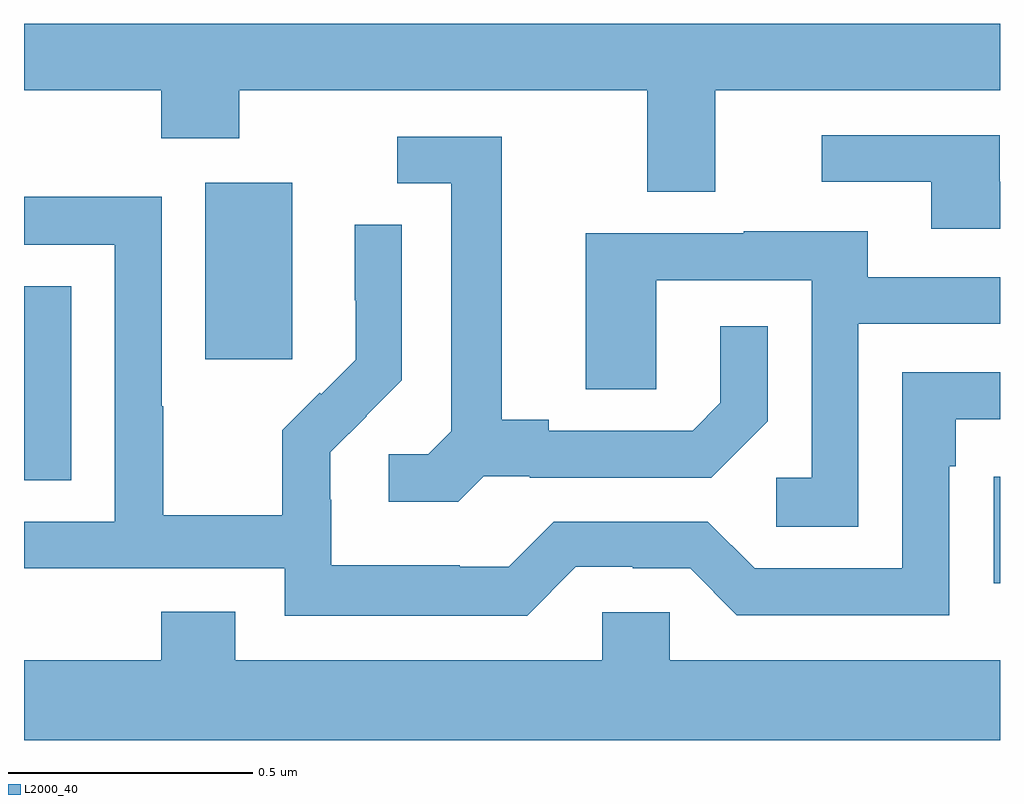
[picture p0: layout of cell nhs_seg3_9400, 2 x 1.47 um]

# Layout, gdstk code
import gdstk
lib = gdstk.Library(unit=1e-6, precision=1e-09)
def R(c, l, rs):  # rectangles x0, y0, x1, y1
    for r in rs: c.add(gdstk.rectangle(r[:2], r[2:], *l))
def P(c, l, *ps):  # polygons
    for p in ps: c.add(gdstk.Polygon(p, *l))
L2000_40 = (2000, 40)

nhs_seg3_9400 = lib.new_cell('nhs_seg3_9400')
R(nhs_seg3_9400, L2000_40, [(229.987,685.254,230,685.472), (228,685.465,228.097,685.862), (228.371,685.713,228.55,686.074)])
P(nhs_seg3_9400, L2000_40, [(229.417,686.264),(230,686.264),(230,686.4),(228,686.4),(228,686.264),(228.281,686.264),(228.281,686.165),(228.441,686.165),(228.441,686.264),(229.277,686.264),(229.277,686.056),(229.417,686.056)],
  [(230,686.076),(229.999,686.076),(229.999,686.172),(229.635,686.172),(229.635,686.076),(229.859,686.076),(229.859,685.98),(230,685.98)],
  [(228.942,685.473),(229.036,685.473),(229.036,685.47),(229.408,685.47),(229.524,685.586),(229.524,685.78),(229.427,685.78),(229.427,685.623),(229.37,685.566),(229.075,685.566),(229.075,685.589),(228.979,685.589),(228.979,686.169),(228.765,686.169),(228.765,686.073),(228.875,686.073),(228.875,685.565),(228.828,685.518),(228.747,685.518),(228.747,685.421),(228.89,685.421)],
  [(229.131,685.287),(229.247,685.287),(229.247,685.284),(229.365,685.284),(229.461,685.188),(229.896,685.188),(229.896,685.493),(229.909,685.493),(229.909,685.59),(230,685.59),(230,685.686),(229.8,685.686),(229.8,685.284),(229.497,685.284),(229.401,685.38),(229.086,685.38),(228.993,685.287),(228.893,685.287),(228.893,685.291),(228.63,685.291),(228.63,685.425),(228.628,685.425),(228.628,685.522),(228.702,685.596),(228.701,685.597),(228.774,685.67),(228.774,685.988),(228.678,685.988),(228.678,685.834),(228.68,685.834),(228.68,685.712),(228.609,685.641),(228.606,685.644),(228.529,685.567),(228.529,685.393),(228.285,685.393),(228.285,685.616),(228.282,685.616),(228.282,686.046),(228,686.046),(228,685.947),(228.186,685.947),(228.186,685.38),(228,685.38),(228,685.284),(228.534,685.284),(228.534,685.187),(229.031,685.187)],
  [(229.71,685.785),(230,685.785),(230,685.881),(229.729,685.881),(229.729,685.975),(229.475,685.975),(229.475,685.971),(229.151,685.971),(229.151,685.651),(229.296,685.651),(229.296,685.875),(229.614,685.875),(229.614,685.47),(229.542,685.47),(229.542,685.369),(229.71,685.369)],
  [(230,685.096),(229.323,685.096),(229.323,685.194),(229.185,685.194),(229.185,685.096),(228.433,685.096),(228.433,685.195),(228.281,685.195),(228.281,685.096),(228,685.096),(228,684.932),(230,684.932)])

lib.write_gds('nhs_seg3_9400.gds')
